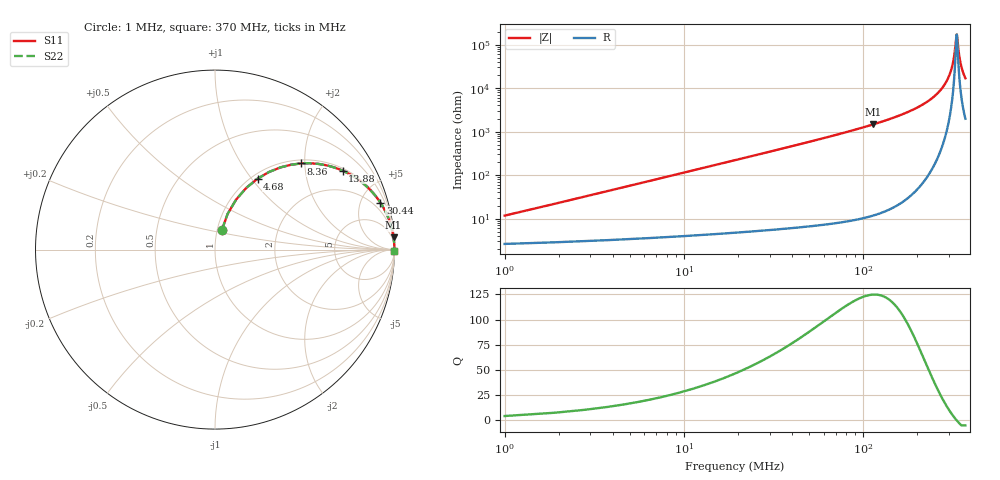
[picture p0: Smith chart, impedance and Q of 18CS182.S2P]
! Coilcraft 1812CS-182 Chip Inductor
! 31 July 2002
# MHZ S MA R 50
!Freq  MagS11  AngS11  MagS21  AngS21  MagS12  AngS12  MagS22  AngS22
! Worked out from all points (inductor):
!   403 points, 1 MHz to 370 MHz, reference 50 ohm
!   read as one part in series: L = 1.82 uH near 2.84 MHz
!   highest Q = 125 at 113.2 MHz (marker M1), where L = 2.06 uH
!   self-resonance near 330.4 MHz
!   S11 on the Smith chart (normalised r, x): 1 MHz: 1.05, +0.23; 4.68 MHz: 1.07, +1.07; 8.36 MHz: 1.08, +1.91; 13.88 MHz: 1.09, +3.18; 30.44 MHz: 1.11, +7.02; 370 MHz: open
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1  0.1136 70.7  0.9685 -6.4  0.9685 -6.4  0.1136 70.7
4.68  0.4608 59.0  0.8592 -27.4  0.8592 -27.4  0.4608 59.0
8.36  0.6782 45.1  0.7084 -42.7  0.7084 -42.7  0.6782 45.1
13.88  0.8364 31.7  0.5258 -56.7  0.5258 -56.7  0.8364 31.7
20.32  0.9123 23.0  0.3911 -65.8  0.3911 -65.8  0.9123 23.0
30.44  0.9578 15.8  0.2728 -73.3  0.2728 -73.3  0.9578 15.8
62.64  0.9898 7.7  0.1332 -81.8  0.1332 -81.8  0.9898 7.7
113.24  0.9971 3.9  0.06799 -85.6  0.06799 -85.6  0.9971 3.9
124.28  0.9977 3.5  0.06031 -86.1  0.06031 -86.1  0.9977 3.5
185.92  0.9991 1.8  0.03217 -87.5  0.03217 -87.5  0.9991 1.8
247.56  0.9995 0.9  0.01557 -87.6  0.01557 -87.6  0.9995 0.9
285.28  0.9995 0.5  0.007905 -86.1  0.007905 -86.1  0.9995 0.5
309.2  0.9995 0.2  0.003652 -81.5  0.003652 -81.5  0.9995 0.2
319.32  0.9994 0.1  0.00199 -73.8  0.00199 -73.8  0.9994 0.1
323.92  0.9994 0.1  0.001286 -64.0  0.001286 -64.0  0.9994 0.1
328.52  0.9994 0.0  0.0007071 -35.7  0.0007071 -35.7  0.9994 0.0
331.28  0.9994 -0.0  0.0005821 2.8  0.0005821 2.8  0.9994 -0.0
333.12  0.9994 -0.0  0.0006684 28.7  0.0006684 28.7  0.9994 -0.0
340.48  0.9994 -0.1  0.001594 67.6  0.001594 67.6  0.9994 -0.1
346.92  0.9994 -0.1  0.002542 75.6  0.002542 75.6  0.9994 -0.1
357.04  0.9993 -0.2  0.004037 80.4  0.004037 80.4  0.9993 -0.2
370  0.9993 -0.3  0.005914 82.9  0.005914 82.9  0.9993 -0.3
